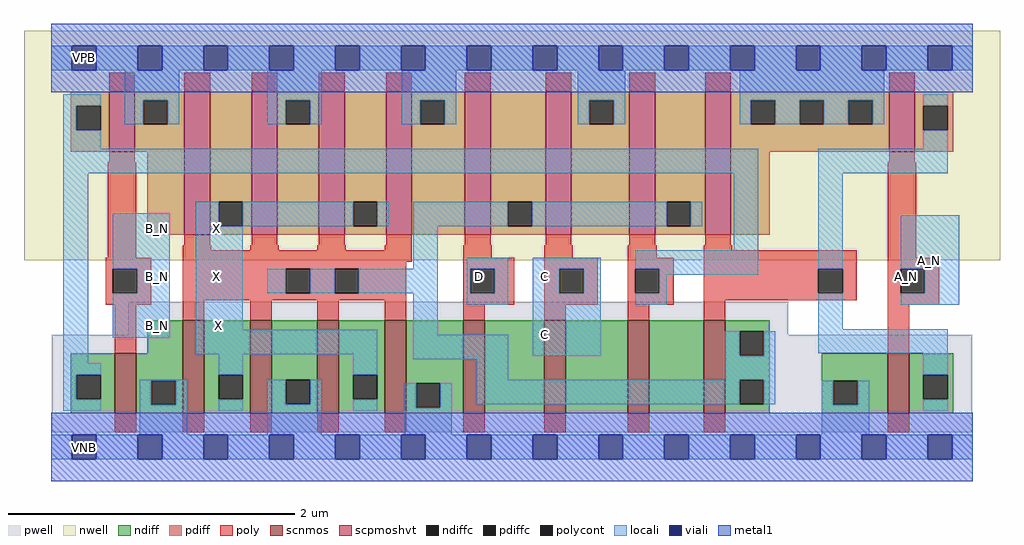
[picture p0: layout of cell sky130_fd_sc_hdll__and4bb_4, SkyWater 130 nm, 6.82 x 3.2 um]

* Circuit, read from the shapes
.subckt sky130_fd_sc_hdll__and4bb_4 A_N B_N C D VGND VNB VPB VPWR X
XM1 VGND B_N n1 VNB sky130_fd_pr__nfet_01v8 w=0.42 l=0.15
XM2 X n2 VGND VNB sky130_fd_pr__nfet_01v8 w=0.65 l=0.15 m=4
XM3 n3 D VGND VNB sky130_fd_pr__nfet_01v8 w=0.65 l=0.15
XM4 n4 C n3 VNB sky130_fd_pr__nfet_01v8 w=0.65 l=0.15
XM5 n5 n1 n4 VNB sky130_fd_pr__nfet_01v8 w=0.65 l=0.15
XM6 n2 n6 n5 VNB sky130_fd_pr__nfet_01v8 w=0.65 l=0.15
XM7 n6 A_N VGND VNB sky130_fd_pr__nfet_01v8 w=0.42 l=0.15
XM8 VPWR B_N n1 VPB sky130_fd_pr__pfet_01v8_hvt w=0.42 l=0.18
XM9 X n2 VPWR VPB sky130_fd_pr__pfet_01v8_hvt w=1 l=0.18 m=4
XM10 n2 D VPWR VPB sky130_fd_pr__pfet_01v8_hvt w=1 l=0.18
XM11 VPWR C n2 VPB sky130_fd_pr__pfet_01v8_hvt w=1 l=0.18
XM12 n2 n1 VPWR VPB sky130_fd_pr__pfet_01v8_hvt w=1 l=0.18
XM13 VPWR n6 n2 VPB sky130_fd_pr__pfet_01v8_hvt w=1 l=0.18
XM14 n6 A_N VPWR VPB sky130_fd_pr__pfet_01v8_hvt w=0.42 l=0.18
.ends

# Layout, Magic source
magic
tech sky130A
magscale 1 2
<< nwell >>
rect -38 261 1326 582
<< pwell >>
rect 108 157 1030 203
rect 1 21 1287 157
rect 30 -17 64 21
<< scnmos >>
rect 89 47 119 131
rect 184 47 214 177
rect 278 47 308 177
rect 372 47 402 177
rect 466 47 496 177
rect 576 47 606 177
rect 689 47 719 177
rect 806 47 836 177
rect 912 47 942 177
rect 1169 47 1199 131
<< scpmoshvt >>
rect 81 413 117 497
rect 186 297 222 497
rect 280 297 316 497
rect 374 297 410 497
rect 468 297 504 497
rect 578 297 614 497
rect 691 297 727 497
rect 808 297 844 497
rect 914 297 950 497
rect 1171 413 1207 497
<< ndiff >>
rect 134 131 184 177
rect 27 101 89 131
rect 27 67 35 101
rect 69 67 89 101
rect 27 47 89 67
rect 119 93 184 131
rect 119 59 140 93
rect 174 59 184 93
rect 119 47 184 59
rect 214 101 278 177
rect 214 67 234 101
rect 268 67 278 101
rect 214 47 278 67
rect 308 94 372 177
rect 308 60 328 94
rect 362 60 372 94
rect 308 47 372 60
rect 402 101 466 177
rect 402 67 422 101
rect 456 67 466 101
rect 402 47 466 67
rect 496 89 576 177
rect 496 55 510 89
rect 544 55 576 89
rect 496 47 576 55
rect 606 47 689 177
rect 719 47 806 177
rect 836 47 912 177
rect 942 162 1004 177
rect 942 128 962 162
rect 996 128 1004 162
rect 942 94 1004 128
rect 942 60 962 94
rect 996 60 1004 94
rect 942 47 1004 60
rect 1077 93 1169 131
rect 1077 59 1093 93
rect 1127 59 1169 93
rect 1077 47 1169 59
rect 1199 101 1261 131
rect 1199 67 1219 101
rect 1253 67 1261 101
rect 1199 47 1261 67
<< pdiff >>
rect 27 477 81 497
rect 27 443 35 477
rect 69 443 81 477
rect 27 413 81 443
rect 117 485 186 497
rect 117 451 129 485
rect 163 451 186 485
rect 117 413 186 451
rect 134 297 186 413
rect 222 343 280 497
rect 222 309 234 343
rect 268 309 280 343
rect 222 297 280 309
rect 316 485 374 497
rect 316 451 328 485
rect 362 451 374 485
rect 316 297 374 451
rect 410 343 468 497
rect 410 309 422 343
rect 456 309 468 343
rect 410 297 468 309
rect 504 485 578 497
rect 504 451 516 485
rect 550 451 578 485
rect 504 297 578 451
rect 614 343 691 497
rect 614 309 638 343
rect 672 309 691 343
rect 614 297 691 309
rect 727 485 808 497
rect 727 451 752 485
rect 786 451 808 485
rect 727 297 808 451
rect 844 343 914 497
rect 844 309 860 343
rect 894 309 914 343
rect 844 297 914 309
rect 950 485 1171 497
rect 950 451 978 485
rect 1012 451 1046 485
rect 1080 451 1114 485
rect 1148 451 1171 485
rect 950 413 1171 451
rect 1207 477 1261 497
rect 1207 443 1219 477
rect 1253 443 1261 477
rect 1207 413 1261 443
rect 950 297 1004 413
<< ndiffc >>
rect 35 67 69 101
rect 140 59 174 93
rect 234 67 268 101
rect 328 60 362 94
rect 422 67 456 101
rect 510 55 544 89
rect 962 128 996 162
rect 962 60 996 94
rect 1093 59 1127 93
rect 1219 67 1253 101
<< pdiffc >>
rect 35 443 69 477
rect 129 451 163 485
rect 234 309 268 343
rect 328 451 362 485
rect 422 309 456 343
rect 516 451 550 485
rect 638 309 672 343
rect 752 451 786 485
rect 860 309 894 343
rect 978 451 1012 485
rect 1046 451 1080 485
rect 1114 451 1148 485
rect 1219 443 1253 477
<< poly >>
rect 81 497 117 523
rect 186 497 222 523
rect 280 497 316 523
rect 374 497 410 523
rect 468 497 504 523
rect 578 497 614 523
rect 691 497 727 523
rect 808 497 844 523
rect 914 497 950 523
rect 1171 497 1207 523
rect 81 398 117 413
rect 79 265 119 398
rect 1171 398 1207 413
rect 186 282 222 297
rect 280 282 316 297
rect 374 282 410 297
rect 468 282 504 297
rect 578 282 614 297
rect 691 282 727 297
rect 808 282 844 297
rect 914 282 950 297
rect 184 275 224 282
rect 278 275 318 282
rect 372 275 412 282
rect 466 275 504 282
rect 76 249 140 265
rect 76 215 86 249
rect 120 215 140 249
rect 76 199 140 215
rect 184 259 504 275
rect 576 265 616 282
rect 689 265 729 282
rect 806 265 846 282
rect 912 275 952 282
rect 184 249 496 259
rect 184 215 328 249
rect 362 215 396 249
rect 430 215 496 249
rect 184 205 496 215
rect 89 131 119 199
rect 184 177 214 205
rect 278 177 308 205
rect 372 177 402 205
rect 466 177 496 205
rect 576 249 647 265
rect 576 215 586 249
rect 620 215 647 249
rect 576 199 647 215
rect 689 249 764 265
rect 689 215 710 249
rect 744 215 764 249
rect 689 199 764 215
rect 806 249 870 265
rect 806 215 816 249
rect 850 215 870 249
rect 806 199 870 215
rect 912 249 1126 275
rect 912 215 1072 249
rect 1106 215 1126 249
rect 912 205 1126 215
rect 1169 265 1209 398
rect 1169 249 1241 265
rect 1169 215 1187 249
rect 1221 215 1241 249
rect 576 177 606 199
rect 689 177 719 199
rect 806 177 836 199
rect 912 177 942 205
rect 1169 199 1241 215
rect 1169 131 1199 199
rect 89 21 119 47
rect 184 21 214 47
rect 278 21 308 47
rect 372 21 402 47
rect 466 21 496 47
rect 576 21 606 47
rect 689 21 719 47
rect 806 21 836 47
rect 912 21 942 47
rect 1169 21 1199 47
<< polycont >>
rect 86 215 120 249
rect 328 215 362 249
rect 396 215 430 249
rect 586 215 620 249
rect 710 215 744 249
rect 816 215 850 249
rect 1072 215 1106 249
rect 1187 215 1221 249
<< locali >>
rect 0 527 29 561
rect 63 527 121 561
rect 155 527 213 561
rect 247 527 305 561
rect 339 527 397 561
rect 431 527 489 561
rect 523 527 581 561
rect 615 527 673 561
rect 707 527 765 561
rect 799 527 857 561
rect 891 527 949 561
rect 983 527 1041 561
rect 1075 527 1133 561
rect 1167 527 1225 561
rect 1259 527 1288 561
rect 17 477 69 493
rect 17 443 35 477
rect 103 485 179 527
rect 103 451 129 485
rect 163 451 179 485
rect 302 485 378 527
rect 302 451 328 485
rect 362 451 378 485
rect 490 485 566 527
rect 490 451 516 485
rect 550 451 566 485
rect 736 485 802 527
rect 736 451 752 485
rect 786 451 802 485
rect 962 485 1164 527
rect 962 451 978 485
rect 1012 451 1046 485
rect 1080 451 1114 485
rect 1148 451 1164 485
rect 1219 477 1253 493
rect 17 417 69 443
rect 1219 417 1253 443
rect 17 383 988 417
rect 17 117 52 383
rect 86 249 166 327
rect 120 215 166 249
rect 86 153 166 215
rect 202 309 234 343
rect 268 309 422 343
rect 456 309 472 343
rect 506 309 638 343
rect 672 309 860 343
rect 894 309 910 343
rect 202 164 268 309
rect 506 249 540 309
rect 954 275 988 383
rect 302 215 328 249
rect 362 215 396 249
rect 430 215 540 249
rect 202 130 456 164
rect 17 101 69 117
rect 17 67 35 101
rect 234 101 268 130
rect 17 51 69 67
rect 124 93 190 94
rect 124 59 140 93
rect 174 59 190 93
rect 124 17 190 59
rect 422 101 456 130
rect 506 157 540 215
rect 581 249 639 265
rect 581 215 586 249
rect 620 215 639 249
rect 581 199 639 215
rect 673 249 768 265
rect 673 215 710 249
rect 744 215 768 249
rect 506 123 639 157
rect 673 128 768 215
rect 816 249 988 275
rect 850 241 988 249
rect 1072 383 1253 417
rect 1072 249 1106 383
rect 850 215 860 241
rect 816 199 860 215
rect 1072 165 1106 215
rect 1187 249 1269 324
rect 1221 215 1269 249
rect 1187 199 1269 215
rect 942 128 962 162
rect 996 128 1012 162
rect 1072 131 1253 165
rect 234 51 268 67
rect 302 60 328 94
rect 362 60 378 94
rect 302 17 378 60
rect 595 94 639 123
rect 942 94 1012 128
rect 422 51 456 67
rect 494 55 510 89
rect 544 55 560 89
rect 595 60 962 94
rect 996 60 1012 94
rect 1219 101 1253 131
rect 494 17 560 55
rect 1077 59 1093 93
rect 1127 59 1143 93
rect 1077 17 1143 59
rect 1219 51 1253 67
rect 0 -17 29 17
rect 63 -17 121 17
rect 155 -17 213 17
rect 247 -17 305 17
rect 339 -17 397 17
rect 431 -17 489 17
rect 523 -17 581 17
rect 615 -17 673 17
rect 707 -17 765 17
rect 799 -17 857 17
rect 891 -17 949 17
rect 983 -17 1041 17
rect 1075 -17 1133 17
rect 1167 -17 1225 17
rect 1259 -17 1288 17
<< viali >>
rect 29 527 63 561
rect 121 527 155 561
rect 213 527 247 561
rect 305 527 339 561
rect 397 527 431 561
rect 489 527 523 561
rect 581 527 615 561
rect 673 527 707 561
rect 765 527 799 561
rect 857 527 891 561
rect 949 527 983 561
rect 1041 527 1075 561
rect 1133 527 1167 561
rect 1225 527 1259 561
rect 29 -17 63 17
rect 121 -17 155 17
rect 213 -17 247 17
rect 305 -17 339 17
rect 397 -17 431 17
rect 489 -17 523 17
rect 581 -17 615 17
rect 673 -17 707 17
rect 765 -17 799 17
rect 857 -17 891 17
rect 949 -17 983 17
rect 1041 -17 1075 17
rect 1133 -17 1167 17
rect 1225 -17 1259 17
<< metal1 >>
rect 0 561 1288 592
rect 0 527 29 561
rect 63 527 121 561
rect 155 527 213 561
rect 247 527 305 561
rect 339 527 397 561
rect 431 527 489 561
rect 523 527 581 561
rect 615 527 673 561
rect 707 527 765 561
rect 799 527 857 561
rect 891 527 949 561
rect 983 527 1041 561
rect 1075 527 1133 561
rect 1167 527 1225 561
rect 1259 527 1288 561
rect 0 496 1288 527
rect 0 17 1288 48
rect 0 -17 29 17
rect 63 -17 121 17
rect 155 -17 213 17
rect 247 -17 305 17
rect 339 -17 397 17
rect 431 -17 489 17
rect 523 -17 581 17
rect 615 -17 673 17
rect 707 -17 765 17
rect 799 -17 857 17
rect 891 -17 949 17
rect 983 -17 1041 17
rect 1075 -17 1133 17
rect 1167 -17 1225 17
rect 1259 -17 1288 17
rect 0 -48 1288 -17
<< labels >>
flabel locali s 673 221 707 255 0 FreeSans 200 0 0 0 C
port 3 nsew signal input
flabel locali s 673 141 707 175 0 FreeSans 200 0 0 0 C
port 3 nsew signal input
flabel locali s 1187 199 1269 324 0 FreeSans 200 0 0 0 A_N
port 1 nsew signal input
flabel locali s 1196 238 1196 238 0 FreeSans 200 0 0 0 A_N
port 1 nsew
flabel locali s 581 221 615 255 0 FreeSans 200 0 0 0 D
port 4 nsew signal input
flabel locali s 214 221 248 255 0 FreeSans 200 0 0 0 X
port 9 nsew signal output
flabel locali s 214 289 248 323 0 FreeSans 200 0 0 0 X
port 9 nsew signal output
flabel locali s 132 153 166 187 0 FreeSans 200 0 0 0 B_N
port 2 nsew signal input
flabel locali s 132 289 166 323 0 FreeSans 200 0 0 0 B_N
port 2 nsew signal input
flabel locali s 217 153 251 187 0 FreeSans 200 0 0 0 X
port 9 nsew signal output
flabel locali s 132 221 166 255 0 FreeSans 200 0 0 0 B_N
port 2 nsew signal input
flabel pwell s 30 -17 64 17 0 FreeSans 200 0 0 0 VNB
port 6 nsew ground bidirectional
flabel nwell s 30 527 64 561 0 FreeSans 200 0 0 0 VPB
port 7 nsew power bidirectional
flabel metal1 s 30 -17 64 17 0 FreeSans 200 0 0 0 VGND
port 5 nsew ground bidirectional
flabel metal1 s 30 527 64 561 0 FreeSans 200 0 0 0 VPWR
port 8 nsew power bidirectional
rlabel comment s 0 0 0 0 4 and4bb_4
<< properties >>
string LEFsite unithd
string LEFclass CORE
string FIXED_BBOX 0 0 1288 544
string GDS_FILE $PDKPATH/libs.ref/sky130_fd_sc_hdll/gds/sky130_fd_sc_hdll.gds
string LEFsymmetry X Y R90
string GDS_END 1897630
string GDS_START 1888588
string LEFproperties maskLayoutSubType "abstract" prCellType "standard" originalViewName "layout"
<< end >>
